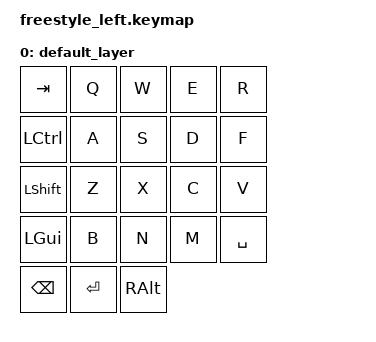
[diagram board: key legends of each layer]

#include <behaviors.dtsi>
#include <dt-bindings/zmk/keys.h>

/ {
    keymap {
        compatible = "zmk,keymap";

        default_layer {
            bindings = <
                &kp TAB    &kp Q &kp W &kp E &kp R
                &kp LCTRL  &kp A &kp S &kp D &kp F
                &kp LSHFT  &kp Z &kp X &kp C &kp V
                &kp LGUI   &kp B &kp N &kp M &kp SPACE

                &kp BSPC   &kp RET &kp RALT
            >;
        };
    };
};

